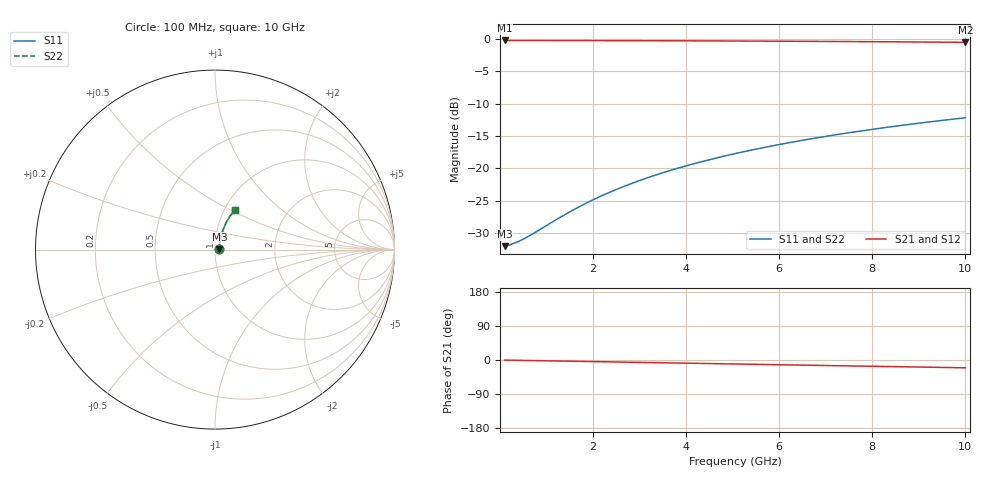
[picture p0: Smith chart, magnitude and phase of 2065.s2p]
# Hz S RI R 50.00
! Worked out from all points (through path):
!   100 points, 100 MHz to 10 GHz, reference 50 ohm
!   highest |S21| = -0.22 dB at 100 MHz (marker M1); lowest = -0.5 dB at 10 GHz (marker M2)
!   group delay of S21, straight-line fit = 5.73 ps
!   lowest |S11| = -32.0 dB at 100 MHz (marker M3), VSWR 1.05, Z = 52.6 + j0.259 ohm
!   |S11| at or under -10 dB: start of sweep to end of sweep
!   |S22| runs from -32.0 to -12.2 dB; largest |S21 - S12| = 0
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1e8  0.025 0.00246  0.975 -0.00357  0.975 -0.00357  0.025 0.00246
2e8  0.0251 0.00492  0.9748 -0.00714  0.9748 -0.00714  0.0251 0.00492
3e8  0.0253 0.00738  0.9747 -0.0107  0.9747 -0.0107  0.0253 0.00738
4e8  0.0255 0.00984  0.9745 -0.0143  0.9745 -0.0143  0.0255 0.00984
5e8  0.0256 0.0123  0.9743 -0.0178  0.9743 -0.0178  0.0256 0.0123
7e8  0.026 0.0172  0.974 -0.025  0.974 -0.025  0.026 0.0172
1.4e9  0.0276 0.0343  0.9722 -0.0499  0.9722 -0.0499  0.0276 0.0343
1.8e9  0.0289 0.0441  0.9709 -0.064  0.9709 -0.064  0.0289 0.0441
2.2e9  0.0305 0.0537  0.9692 -0.0782  0.9692 -0.0782  0.0305 0.0537
2.6e9  0.0323 0.0634  0.9673 -0.0922  0.9673 -0.0922  0.0323 0.0634
3e9  0.0344 0.0729  0.965 -0.1062  0.965 -0.1062  0.0344 0.0729
3.4e9  0.0367 0.0824  0.9625 -0.1202  0.9625 -0.1202  0.0367 0.0824
3.8e9  0.0393 0.0918  0.9597 -0.134  0.9597 -0.134  0.0393 0.0918
4.2e9  0.0422 0.1011  0.9566 -0.1477  0.9566 -0.1477  0.0422 0.1011
4.6e9  0.0454 0.1103  0.9533 -0.1614  0.9533 -0.1614  0.0454 0.1103
5.1e9  0.0497 0.1216  0.9487 -0.1783  0.9487 -0.1783  0.0497 0.1216
5.9e9  0.0573 0.1393  0.9404 -0.2049  0.9404 -0.2049  0.0573 0.1393
6.7e9  0.066 0.1565  0.9312 -0.231  0.9312 -0.231  0.066 0.1565
7.5e9  0.0755 0.173  0.9209 -0.2565  0.9209 -0.2565  0.0755 0.173
8.4e9  0.0872 0.1908  0.9082 -0.2844  0.9082 -0.2844  0.0872 0.1908
9.2e9  0.0985 0.2058  0.8961 -0.3084  0.8961 -0.3084  0.0985 0.2058
1e10  0.1105 0.2201  0.883 -0.3317  0.883 -0.3317  0.1105 0.2201
